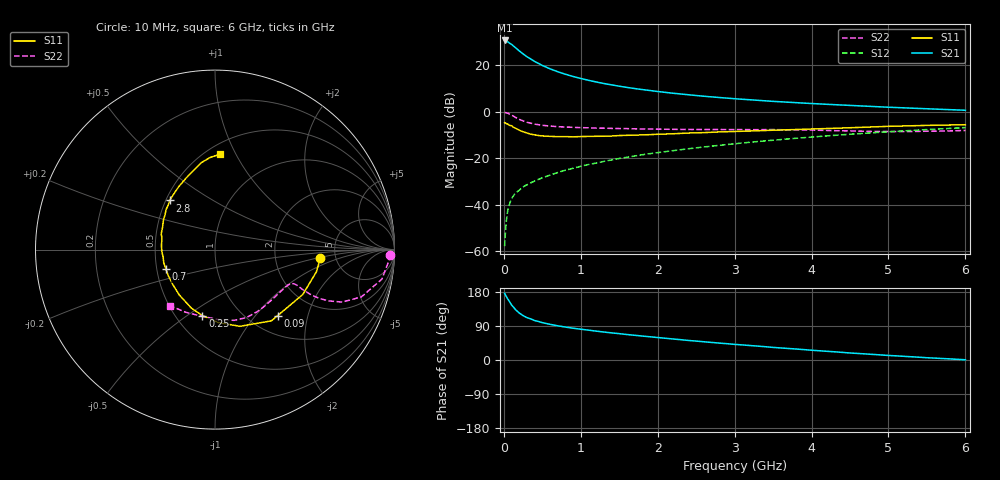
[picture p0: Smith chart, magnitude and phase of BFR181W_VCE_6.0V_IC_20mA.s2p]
! (c) 2017  Infineon Technologies AG, Munich
! Infineon Technologies  Discrete & RF Semiconductors
! BFR181W
! VCE =  6.0 V,  IC =  20 mA
! Common Emitter S-Parameters:  Jan 2017
# GHz  S  MA  R  50
!  f  S11  S21  S12  S22
! GHz  MAG  ANG  MAG  ANG  MAG  ANG  MAG  ANG
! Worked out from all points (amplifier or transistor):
!   77 points, 10 MHz to 6 GHz, reference 50 ohm
!   highest |S21| = 30.7 dB at 10 MHz (marker M1)
!   |S21| within 3 dB of that: start of sweep to 147.8 MHz
!   unconditionally stable (mu >= 1): 684.6 MHz to 2.532 GHz
!   at 130 MHz: K = 0.41, MSG = 32.0 dB, |S12| = -35.8 dB
!   at 2.2 GHz: K = 1.03, MAG = 11.3 dB, |S12| = -16.6 dB
!   at 6 GHz: K = 0.82, MSG = 3.7 dB, |S12| = -6.7 dB
!   S11 on the Smith chart (normalised r, x): 10 MHz: 3.79, -0.54; 90 MHz: 1.33, -1.32; 250 MHz: 0.67, -0.57; 700 MHz: 0.56, -0.13; 2.8 GHz: 0.52, +0.33; 6 GHz: 0.58, +0.86
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0.01  0.5895 -4.5  34.44 176.2  0.0013 86.8  0.9781 -1.7
0.02  0.5783 -12.3  34.05 171.8  0.0025 97.0  0.9699 -3.8
0.05  0.5493 -27.1  32.35 161.2  0.0074 78.1  0.944 -10.1
0.09  0.5071 -46.4  28.98 148.7  0.0124 73.3  0.8732 -16.2
0.1  0.5063 -51.6  28.38 145.1  0.0136 72.7  0.8572 -17.9
0.15  0.4494 -72.0  24.22 133.2  0.018 65.9  0.7671 -22.4
0.2  0.4072 -87.3  20.55 124.0  0.0207 64.7  0.6945 -24.3
0.25  0.374 -100.8  17.7 117.1  0.0245 63.2  0.6408 -25.1
0.3  0.3521 -111.8  15.39 111.9  0.0272 64.2  0.5991 -25.2
0.4  0.3214 -128.3  12.19 104.1  0.0327 65.6  0.5475 -24.7
0.5  0.3051 -140.7  9.981 98.6  0.0384 67.6  0.5162 -24.0
0.6  0.2985 -150.5  8.465 94.1  0.0439 68.0  0.4972 -23.5
0.7  0.2941 -158.3  7.328 90.3  0.0499 70.1  0.4833 -23.4
0.9  0.2917 -171.7  5.783 83.9  0.0614 71.2  0.4667 -24.1
1.1  0.2977 179.0  4.793 78.8  0.0741 72.8  0.456 -25.3
1.5  0.311 164.2  3.578 69.5  0.0997 73.4  0.4395 -29.5
2.1  0.335 147.6  2.635 57.4  0.1401 71.7  0.4247 -38.9
2.8  0.3719 132.6  2.043 44.6  0.1913 68.4  0.4186 -52.1
3.1  0.3846 127.0  1.875 39.8  0.2147 66.5  0.417 -57.8
4.1  0.4349 110.5  1.488 24.4  0.2967 59.1  0.4036 -77.1
5.1  0.4948 97.7  1.244 10.9  0.3827 49.7  0.3782 -103.3
6  0.5311 87.2  1.087 0.6  0.4611 40.4  0.3997 -128.4
